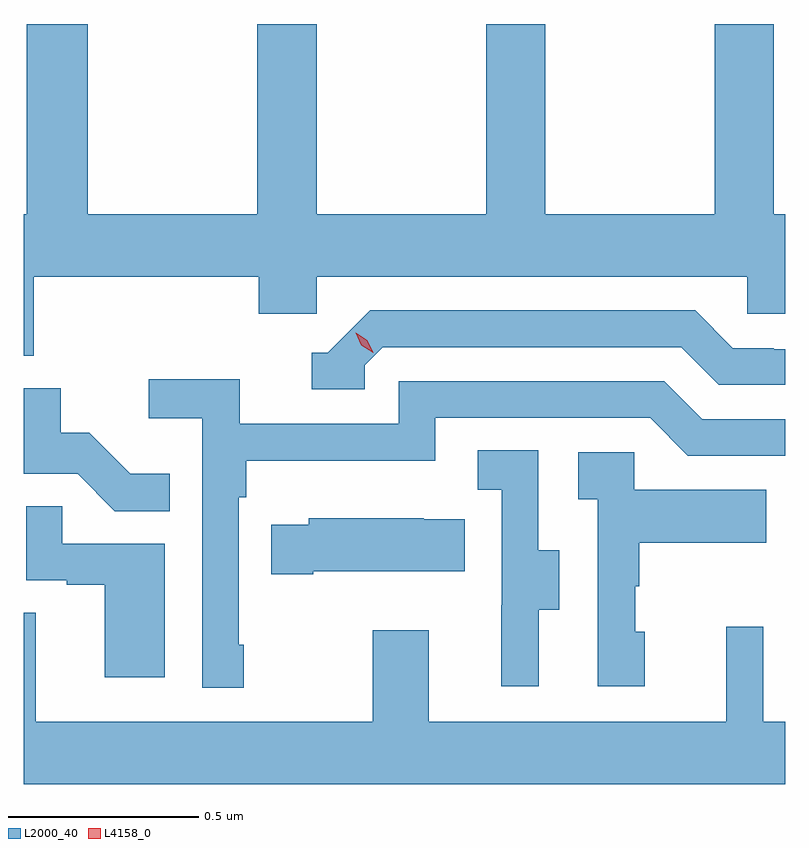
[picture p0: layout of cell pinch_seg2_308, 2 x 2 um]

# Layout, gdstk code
import gdstk
lib = gdstk.Library(unit=1e-6, precision=1e-09)
def P(c, l, *ps):  # polygons
    for p in ps: c.add(gdstk.Polygon(p, *l))
L2000_40 = (2000, 40)
L4158_0 = (4158, 0)

pinch_seg2_308 = lib.new_cell('pinch_seg2_308')
P(pinch_seg2_308, L2000_40, [(949.484,636.98),(950.075,636.98),(950.075,636.882),(950.226,636.882),(950.226,636.98),(951.357,636.98),(951.357,636.882),(951.457,636.882),(951.457,637.144),(951.426,637.144),(951.426,637.643),(951.271,637.643),(951.271,637.144),(950.826,637.144),(950.826,637.643),(950.671,637.643),(950.671,637.144),(950.226,637.144),(950.226,637.643),(950.071,637.643),(950.071,637.144),(949.626,637.144),(949.626,637.643),(949.466,637.643),(949.466,637.144),(949.457,637.144),(949.457,636.772),(949.484,636.772)],
  [(950.352,636.747),(950.4,636.795),(951.183,636.795),(951.282,636.696),(951.457,636.696),(951.457,636.789),(951.426,636.789),(951.426,636.792),(951.319,636.792),(951.22,636.891),(950.367,636.891),(950.256,636.78),(950.213,636.78),(950.213,636.684),(950.352,636.684)],
  [(950.035,636.013),(950.022,636.013),(950.022,636.401),(950.042,636.401),(950.042,636.497),(950.538,636.497),(950.538,636.609),(951.102,636.609),(951.201,636.51),(951.457,636.51),(951.457,636.606),(951.238,636.606),(951.139,636.705),(950.442,636.705),(950.442,636.594),(950.024,636.594),(950.024,636.71),(949.785,636.71),(949.785,636.608),(949.926,636.608),(949.926,635.901),(950.035,635.901)],
  [(949.841,636.463),(949.737,636.463),(949.63,636.57),(949.554,636.57),(949.554,636.687),(949.457,636.687),(949.457,636.462),(949.599,636.462),(949.697,636.364),(949.841,636.364)],
  [(950.809,636.106),(950.863,636.106),(950.863,636.261),(950.808,636.261),(950.808,636.524),(950.649,636.524),(950.649,636.421),(950.712,636.421),(950.712,636.117),(950.711,636.117),(950.711,635.904),(950.809,635.904)],
  [(951.088,636.048),(951.063,636.048),(951.063,636.167),(951.073,636.167),(951.073,636.281),(951.407,636.281),(951.407,636.421),(951.06,636.421),(951.06,636.519),(950.913,636.519),(950.913,636.395),(950.964,636.395),(950.964,635.904),(951.088,635.904)],
  [(949.828,636.279),(949.559,636.279),(949.559,636.377),(949.464,636.377),(949.464,636.183),(949.571,636.183),(949.571,636.171),(949.67,636.171),(949.67,635.928),(949.828,635.928)],
  [(950.218,636.206),(950.615,636.206),(950.615,636.343),(950.507,636.343),(950.507,636.346),(950.205,636.346),(950.205,636.328),(950.107,636.328),(950.107,636.199),(950.218,636.199)],
  [(951.457,635.812),(951.399,635.812),(951.399,636.061),(951.302,636.061),(951.302,635.812),(950.521,635.812),(950.521,636.052),(950.374,636.052),(950.374,635.812),(949.489,635.812),(949.489,636.098),(949.457,636.098),(949.457,635.648),(951.457,635.648)])
P(pinch_seg2_308, L4158_0, [(950.375,636.78),(950.344,636.8),(950.329,636.832),(950.329,636.833),(950.329,636.833),(950.359,636.813),(950.375,636.78),(950.375,636.78)])

lib.write_gds('pinch_seg2_308.gds')
